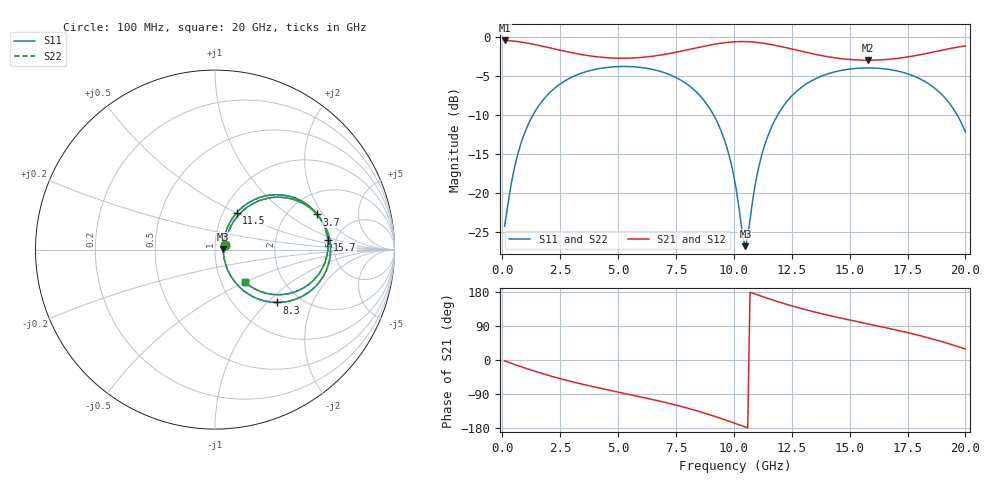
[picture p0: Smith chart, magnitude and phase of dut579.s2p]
! Touchstone file exported from HFSS 2026.1.0
!  File:  C:/ffzhzh/LocalFiles/Ansys_Project_Files/temp_train_TSV_RDL_579_1783118774_46604.aedt
!  Generated:  07:03:22 AM Jul  4, 2026
!  Design:  TSV_RDL
!  Project:  temp_train_TSV_RDL_579_1783118774_46604
! Variables:
!  h_bsmrdl = 4.21um
!  h_ox = 20um
!  h_rdl = 5um
!  h_sub = 62.55um
!  h_tmrdl = 2.99um
!  h_tsv = 62.55um
!  h_via = 3um
!  l_bsmrdl = 571.41um
!  l_sub = 5862.23um
!  l_tmrdl = 919.06um
!  m_sub = 200um
!  pitch = 37.41um
!  r_tsv = 2.95um
!  s_tmrdl = 10um
!  w_bsmrdl = 13.79um
!  w_sub = 500um
!  w_tmrdl = 10.13um
!  x_tsv_center1 = 924.125um
!  x_tsv_center2 = 1509.325um
!  x_tsv_center3 = 2438.515um
!  x_tsv_center4 = 3023.715um
!  x_tsv_center5 = 3952.905um
!  x_tsv_center6 = 4538.105um
# GHz S MA R 50.000000
! Terminal data exported
! Port[1] = TM_RDL1_1_T1
! Port[2] = TM_RDL5_1_T1
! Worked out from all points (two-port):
!   200 points, 100 MHz to 20 GHz, reference 50 ohm
!   highest |S21| = -0.50 dB at 100 MHz (marker M1); lowest = -3.0 dB at 15.8 GHz (marker M2)
!   |S21| within 3 dB of the highest: start of sweep to end of sweep
!   lowest |S11| = -26.8 dB at 10.5 GHz (marker M3), VSWR 1.10, Z = 54.8 + j0.243 ohm
!   |S11| at or under -10 dB: start of sweep to 1.331 GHz; 9.121 GHz to 11.9 GHz (2.775 GHz wide, 26.4 % of centre); 19.64 GHz to end of sweep
!   |S22| runs from -26.7 to -3.8 dB; largest |S21 - S12| = 1.6e-14
!   S11 on the Smith chart (normalised r, x): 100 MHz: 1.12, +0.05; 3.7 GHz: 2.85, +1.75; 8.3 GHz: 1.54, -1.15; 11.5 GHz: 1.16, +0.50; 15.7 GHz: 4.26, +0.78; 20 GHz: 1.29, -0.50
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0.1  0.06154 23.0  0.944 -2.3  0.944 -2.3  0.06154 23.0
! Gamma 0 0 0 0
! Port Impedance 50 0 50 0
0.6  0.1621 56.0  0.9308 -13.2  0.9308 -13.2  0.1621 56.0
1.2  0.2906 53.1  0.9011 -25.6  0.9011 -25.6  0.2906 53.1
2.2  0.4599 39.4  0.8367 -44.2  0.8367 -44.2  0.4599 39.4
3.5  0.5893 21.6  0.7638 -64.4  0.7638 -64.4  0.5893 21.6
3.7  0.6016 19.0  0.7556 -67.3  0.7556 -67.3  0.6016 19.0
5.3  0.6439 -0.6  0.727 -88.4  0.727 -88.4  0.6439 -0.6
6.8  0.6004 -19.2  0.7601 -108.5  0.7601 -108.5  0.6004 -19.2
8.3  0.4544 -40.4  0.8418 -132.2  0.8418 -132.2  0.4544 -40.4
9.4  0.2601 -56.3  0.9054 -153.3  0.9054 -153.3  0.2602 -56.2
9.8  0.1731 -59.1  0.9205 -161.7  0.9205 -161.7  0.1732 -59.0
10.1  0.1063 -55.1  0.927 -168.2  0.927 -168.2  0.1065 -55.0
10.5  0.04588 2.8  0.9281 -176.9  0.9281 -176.9  0.04621 2.8
11  0.1301 60.0  0.9174 172.3  0.9174 172.3  0.1302 59.8
11.5  0.2381 59.5  0.8952 161.9  0.8952 161.9  0.2382 59.4
12.3  0.3862 49.1  0.8457 146.5  0.8457 146.5  0.3862 49.0
13.4  0.5258 33.4  0.7759 128.1  0.7759 128.1  0.5258 33.4
15.7  0.6305 5.0  0.7059 96.5  0.7059 96.5  0.6305 5.0
15.8  0.6306 3.9  0.7058 95.2  0.7058 95.2  0.6306 3.8
16.7  0.6166 -6.7  0.7157 83.4  0.7157 83.4  0.6166 -6.7
18.7  0.4649 -32.3  0.8013 53.5  0.8013 53.5  0.4649 -32.3
20  0.2464 -47.3  0.8712 28.9  0.8712 28.9  0.2464 -47.4
